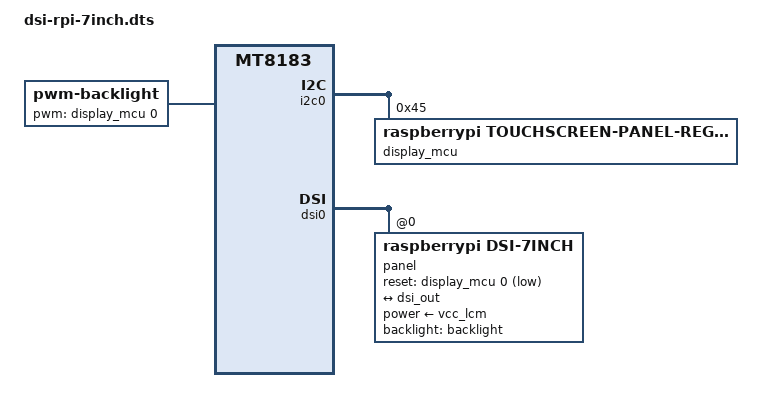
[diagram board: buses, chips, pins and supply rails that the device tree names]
// SPDX-License-Identifier: (GPL-2.0-or-later OR MIT)
/*
 * Copyright (C) 2026 Libre Computer, Inc.
 */
/*
 * Summary: Raspberry Pi Touch Display 2 on DSI0 (ILI9881C, 720x1280)
 *
 * Resource-provides: bus:dsi0, i2c:i2c0@0x45, label:backlight
 *
 * Notes:
 *   The board DTB enables i2c0 and the vcc-3v3-lcm rail.
 *   This overlay adds the panel MCU at I2C 0x45, its PWM backlight,
 *   and the ILI9881C panel on dsi0. Lane count is the
 *   raspberrypi,dsi-7inch driver descriptor (2), not a DT property.
 *   GT9271 touch at 0x5d is not described here.
 */
/dts-v1/;
/plugin/;

#include <dt-bindings/gpio/gpio.h>

/ {
	compatible = "libre-computer,med-mt83-ace",
		     "libretech,med-mt83-ace",
		     "librecomputer,med-mt83-ace",
		     "mediatek,mt8183";

	fragment@0 {
		target = <&i2c0>;

		__overlay__ {
			display_mcu: regulator@45 {
				compatible = "raspberrypi,touchscreen-panel-regulator-v2";
				reg = <0x45>;
				gpio-controller;
				#gpio-cells = <2>;
				#pwm-cells = <3>;
			};
		};
	};

	fragment@1 {
		target-path = "/";

		__overlay__ {
			backlight: backlight {
				compatible = "pwm-backlight";
				pwms = <&display_mcu 0 200000 0>;
				brightness-levels = <0 31>;
				num-interpolated-steps = <31>;
				default-brightness-level = <15>;
			};
		};
	};

	fragment@2 {
		target = <&dsi0>;

		__overlay__ {
			status = "okay";
			#address-cells = <1>;
			#size-cells = <0>;

			panel@0 {
				compatible = "raspberrypi,dsi-7inch", "ilitek,ili9881c";
				reg = <0>;
				power-supply = <&vcc_lcm>;
				reset-gpios = <&display_mcu 0 GPIO_ACTIVE_LOW>;
				backlight = <&backlight>;

				port {
					panel_in: endpoint {
						remote-endpoint = <&dsi_out>;
					};
				};
			};
		};
	};

	fragment@3 {
		target = <&dsi_out>;

		__overlay__ {
			remote-endpoint = <&panel_in>;
		};
	};
};
